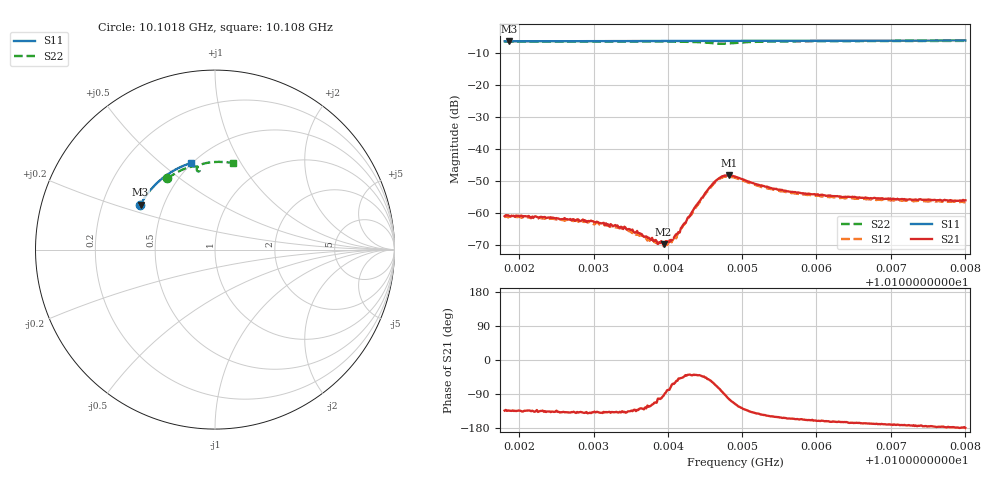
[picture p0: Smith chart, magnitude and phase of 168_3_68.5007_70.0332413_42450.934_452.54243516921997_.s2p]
#  HZ  S  RI  R  50.00
! Rohde & Schwarz Vector Network Analyzer
! Rohde-Schwarz,ZNB20-2Port,1311601062101988,3.16
! Created: UTC 3/20/2024, 4:56:05 PM
! freq[Hz]  re:S11  im:S11  re:S21  im:S21  re:S12  im:S12  re:S22  im:S22
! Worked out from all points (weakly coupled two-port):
!   401 points, 10.1018 GHz to 10.108 GHz, reference 50 ohm
!   highest |S21| = -48.20 dB at 10.10483 GHz (marker M1); lowest = -69.8 dB at 10.10394 GHz (marker M2)
!   lowest |S11| = -6.3 dB at 10.10186 GHz (marker M3), VSWR 2.88, Z = 18.5 + j12.2 ohm
!   |S11| at or under -10 dB: nowhere
!   |S22| runs from -7.0 to -6.2 dB; largest |S21 - S12| = 0.00042
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1.0101803e10  -0.4165 0.2479  -0.000614 -0.000649  -0.000526 -0.000691  -0.2651 0.3966
1.0101865e10  -0.4145 0.2511  -0.000622 -0.000653  -0.000539 -0.000692  -0.262 0.3989
1.0102841e10  -0.3832 0.3017  -0.00057 -0.000514  -0.000523 -0.000532  -0.2076 0.4327
1.0102965e10  -0.3788 0.3079  -0.000583 -0.000486  -0.000493 -0.000489  -0.2003 0.4366
1.010343e10  -0.3614 0.3302  -0.000445 -0.000386  -0.00037 -0.000447  -0.1715 0.4495
1.0103616e10  -0.3543 0.3386  -0.000302 -0.000378  -0.000277 -0.000343  -0.1593 0.4541
1.0103756e10  -0.3485 0.3451  -0.000212 -0.000335  -0.00015 -0.000337  -0.1498 0.4573
1.010388e10  -0.3433 0.3505  -7.15e-05 -0.00034  -5.23e-05 -0.000334  -0.1408 0.4597
1.0103942e10  -0.3408 0.3533  -2.33e-05 -0.000322  1.51e-05 -0.000302  -0.1365 0.4608
1.0103973e10  -0.3394 0.3548  2.71e-05 -0.000362  4.81e-05 -0.000315  -0.1341 0.4614
1.010402e10  -0.3376 0.3567  6.8e-05 -0.000342  0.000114 -0.00031  -0.1306 0.4619
1.0104128e10  -0.333 0.3616  0.000273 -0.000386  0.000307 -0.000345  -0.1219 0.4633
1.0104392e10  -0.3215 0.3727  0.00105 -0.000869  0.00108 -0.000708  -0.0983 0.4613
1.0104624e10  -0.311 0.3819  0.00136 -0.0027  0.00154 -0.00247  -0.0841 0.4434
1.0104733e10  -0.3062 0.3862  0.000374 -0.00374  0.000656 -0.00352  -0.0912 0.4355
1.0104826e10  -0.3019 0.3898  -0.000918 -0.00378  -0.000515 -0.00367  -0.0994 0.4389
1.0104903e10  -0.2984 0.3928  -0.00162 -0.00335  -0.00128 -0.00333  -0.102 0.4465
1.0105229e10  -0.2829 0.4053  -0.00216 -0.00168  -0.00195 -0.00177  -0.0842 0.4701
1.0105415e10  -0.2741 0.412  -0.00206 -0.00123  -0.00189 -0.00137  -0.0703 0.4764
1.0105942e10  -0.2474 0.4301  -0.00182 -0.000742  -0.0017 -0.000837  -0.0331 0.485
1.0106981e10  -0.1922 0.4599  -0.00163 -0.000297  -0.00156 -0.000419  0.036 0.4887
1.0108004e10  -0.1345 0.4821  -0.00158 -2.19e-05  -0.00147 -0.000189  0.1016 0.4819
